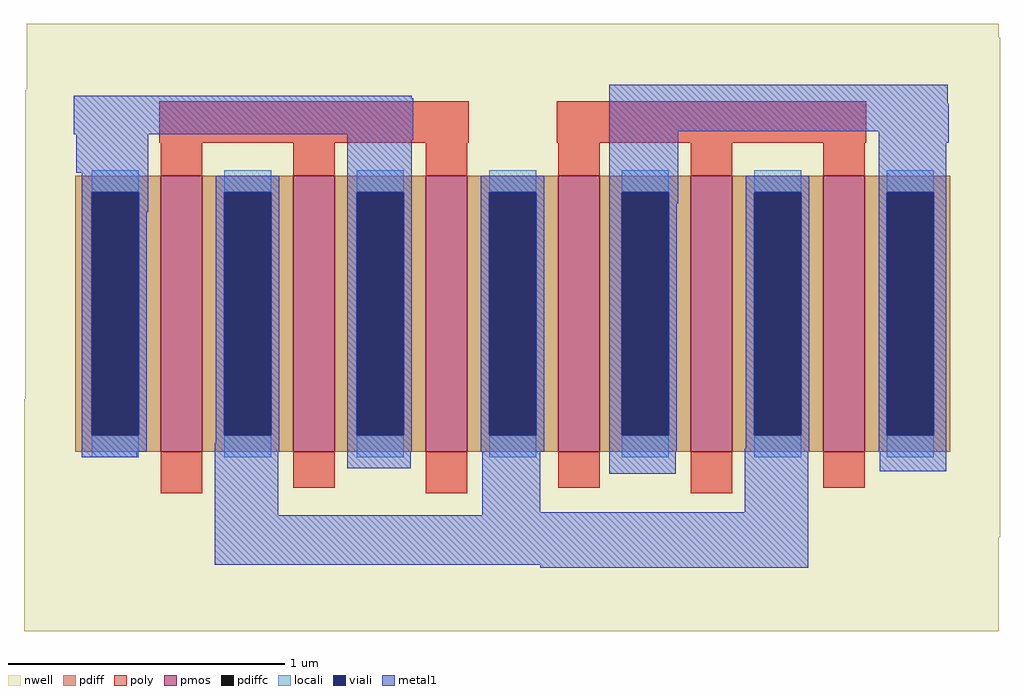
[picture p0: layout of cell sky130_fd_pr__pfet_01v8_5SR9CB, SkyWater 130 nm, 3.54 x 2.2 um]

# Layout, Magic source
magic
tech sky130A
magscale 1 2
<< nwell >>
rect -352 200 352 210
rect -352 162 353 200
rect -353 -62 353 162
rect -354 -162 353 -62
rect -354 -230 352 -162
<< pmos >>
rect -255 -100 -225 100
rect -159 -100 -129 100
rect -63 -100 -33 100
rect 33 -100 63 100
rect 129 -100 159 100
rect 225 -100 255 100
<< pdiff >>
rect -317 88 -255 100
rect -317 -88 -305 88
rect -271 -88 -255 88
rect -317 -100 -255 -88
rect -225 88 -159 100
rect -225 -88 -209 88
rect -175 -88 -159 88
rect -225 -100 -159 -88
rect -129 88 -63 100
rect -129 -88 -113 88
rect -79 -88 -63 88
rect -129 -100 -63 -88
rect -33 88 33 100
rect -33 -88 -17 88
rect 17 -88 33 88
rect -33 -100 33 -88
rect 63 88 129 100
rect 63 -88 79 88
rect 113 -88 129 88
rect 63 -100 129 -88
rect 159 88 225 100
rect 159 -88 175 88
rect 209 -88 225 88
rect 159 -100 225 -88
rect 255 88 317 100
rect 255 -88 271 88
rect 305 -88 317 88
rect 255 -100 317 -88
<< pdiffc >>
rect -305 -88 -271 88
rect -209 -88 -175 88
rect -113 -88 -79 88
rect -17 -88 17 88
rect 79 -88 113 88
rect 175 -88 209 88
rect 271 -88 305 88
<< poly >>
rect -256 124 -32 154
rect 32 124 256 154
rect -255 100 -225 124
rect -159 100 -129 124
rect -63 100 -33 124
rect 33 100 63 124
rect 129 100 159 124
rect 225 100 255 124
rect -255 -130 -225 -100
rect -159 -126 -129 -100
rect -63 -130 -33 -100
rect 33 -126 63 -100
rect 129 -130 159 -100
rect 225 -126 255 -100
<< locali >>
rect -305 88 -271 104
rect -305 -104 -271 -88
rect -209 88 -175 104
rect -209 -104 -175 -88
rect -113 88 -79 104
rect -113 -104 -79 -88
rect -17 88 17 104
rect -17 -104 17 -88
rect 79 88 113 104
rect 79 -104 113 -88
rect 175 88 209 104
rect 175 -104 209 -88
rect 271 88 305 104
rect 271 -104 305 -88
<< viali >>
rect -305 -88 -271 88
rect -209 -88 -175 88
rect -113 -88 -79 88
rect -17 -88 17 88
rect 79 -88 113 88
rect 175 -88 209 88
rect 271 -88 305 88
<< metal1 >>
rect -318 156 -73 158
rect -318 130 -72 156
rect -316 102 -264 130
rect -312 88 -264 102
rect -120 126 -72 130
rect 70 152 315 166
rect 70 132 316 152
rect -312 -88 -305 88
rect -271 74 -264 88
rect -215 88 -169 100
rect -271 -88 -265 74
rect -312 -100 -265 -88
rect -215 -88 -209 88
rect -175 -88 -169 88
rect -215 -94 -169 -88
rect -216 -100 -169 -94
rect -120 88 -73 126
rect -120 -88 -113 88
rect -79 -88 -73 88
rect -120 -100 -73 -88
rect -23 88 23 100
rect -23 -88 -17 88
rect 17 -88 23 88
rect -23 -100 23 -88
rect 70 88 120 132
rect 265 124 316 132
rect 70 -88 79 88
rect 113 80 120 88
rect 169 88 215 100
rect 113 -88 119 80
rect 70 -100 119 -88
rect 169 -88 175 88
rect 209 -88 215 88
rect 169 -98 215 -88
rect 168 -100 215 -98
rect 265 88 314 124
rect 265 -88 271 88
rect 305 -88 314 88
rect 265 -100 314 -88
rect -312 -104 -272 -100
rect -216 -146 -170 -100
rect -120 -112 -74 -100
rect -22 -144 20 -100
rect 70 -116 118 -100
rect 168 -144 214 -100
rect 266 -114 314 -100
rect -22 -146 214 -144
rect -216 -182 214 -146
rect 20 -184 214 -182
<< properties >>
string gencell sky130_fd_pr__pfet_01v8
string library sky130
string parameters w 1 l 0.15 m 1 nf 6 diffcov 100 polycov 100 guard 0 glc 0 grc 0 gtc 0 gbc 0 tbcov 100 rlcov 100 topc 0 botc 0 poverlap 0 doverlap 1 lmin 0.15 wmin 0.42 compatible {sky130_fd_pr__pfet_01v8  sky130_fd_pr__pfet_01v8_lvt sky130_fd_pr__pfet_01v8_hvt  sky130_fd_pr__pfet_g5v0d10v5} full_metal 0 viasrc 100 viadrn 100 viagate 100 viagb 0 viagr 0 viagl 0 viagt 0
<< end >>
